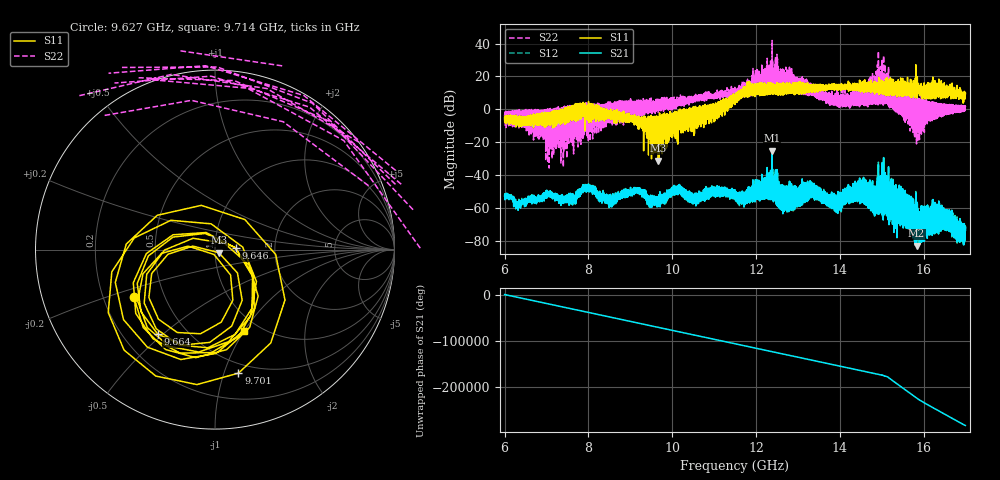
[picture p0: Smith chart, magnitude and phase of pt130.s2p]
#  HZ  S  RI  R  50.00
! Rohde & Schwarz Vector Network Analyzer
! Rohde-Schwarz,ZNA67-2Port,1332450062101215,3.01
! Created: UTC 10/19/2026, 5:37:01 PM
! freq[Hz]  re:S11  im:S11  re:S21  im:S21  re:S12  im:S12  re:S22  im:S22
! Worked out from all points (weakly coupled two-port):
!   11001 points, 6 GHz to 17 GHz, reference 50 ohm
!   highest |S21| = -25.14 dB at 12.38 GHz (marker M1); lowest = -82.7 dB at 15.83 GHz (marker M2)
!   lowest |S11| = -31.2 dB at 9.67 GHz (marker M3), VSWR 1.06, Z = 52.2 - j1.8 ohm
!   |S11| at or under -10 dB: 9.386523 GHz to 9.391322 GHz (4.799 MHz wide, 0.0511 % of centre); 9.398488 GHz to 9.403052 GHz (4.564 MHz wide, 0.0486 % of centre); 9.586551 GHz to 9.59101 GHz (4.459 MHz wide, 0.0465 % of centre) (the widest 3 of 123)
!   |S22| runs from -35.6 to 41.9 dB; largest |S21 - S12| = 0.0043
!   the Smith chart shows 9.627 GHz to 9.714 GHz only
!   S11 on the Smith chart (normalised r, x): 9.627 GHz: 0.33, -0.24; 9.646 GHz: 1.26, +0.02; 9.664 GHz: 0.34, -0.48; 9.701 GHz: 0.41, -1.12; 9.714 GHz: 0.85, -0.99
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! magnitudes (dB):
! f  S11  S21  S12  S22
! 6 GHz  -5.3  -52.8  -52.8  -3.2
! 6.318 GHz  -8.6  -56.8  -56.6  -9.1
! 7.834 GHz  -4.1  -50.0  -50.0  -13.2
! 9.627 GHz  -5.6  -54.5  -54.3  3.8
! 9.646 GHz  -18.8  -55.9  -55.8  4.1
! 9.664 GHz  -4.9  -56.5  -56.4  -0.7
! 9.667 GHz  -7.2  -57.7  -57.7  -0.2
! 9.67 GHz  -31.2  -56.3  -56.2  3.9
! 9.701 GHz  -3.1  -55.2  -55.0  1.0
! 9.714 GHz  -6.4  -59.0  -59.1  1.5
! 10.15 GHz  -9.5  -50.1  -50.2  3.5
! 10.53 GHz  -1.2  -52.1  -52.4  6.9
! 11.5 GHz  4.1  -53.8  -53.9  9.3
! 12.38 GHz  10.1  -25.1  -25.0  41.9
! 12.67 GHz  12.9  -55.1  -55.1  13.9
! 13.33 GHz  11.6  -51.0  -51.1  10.5
! 13.96 GHz  13.8  -58.7  -59.3  4.1
! 14.42 GHz  12.4  -55.8  -56.1  3.5
! 15.17 GHz  10.8  -60.7  -61.4  3.9
! 15.83 GHz  10.3  -82.7  -83.0  -21.0
! 16.44 GHz  7.8  -68.6  -68.8  -0.2
! 17 GHz  9.6  -73.3  -73.1  1.5
